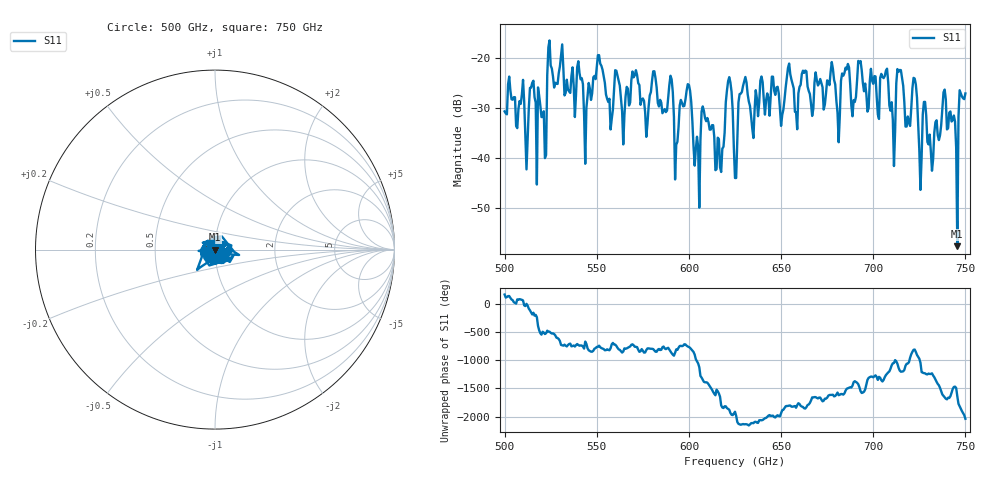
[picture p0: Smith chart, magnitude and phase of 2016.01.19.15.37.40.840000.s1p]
!Created with skrf (http://scikit-rf.org).
# GHz S RI R 50.0
!freq ReS11 ImS11
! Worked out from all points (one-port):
!   401 points, 500 GHz to 750 GHz, reference 50 ohm
!   lowest |S11| = -57.7 dB at 745.6 GHz (marker M1), VSWR 1.00, Z = 49.9 + j0.0494 ohm
!   |S11| at or under -10 dB: start of sweep to end of sweep
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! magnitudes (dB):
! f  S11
! 500 GHz  -30.7
! 511.9 GHz  -42.3
! 515 GHz  -24.9
! 521.2 GHz  -30.6
! 524.4 GHz  -16.4
! 531.2 GHz  -17.2
! 543.8 GHz  -41.2
! 562.5 GHz  -25.5
! 590 GHz  -23.5
! 593.8 GHz  -36.8
! 599.4 GHz  -25.2
! 604.4 GHz  -35.7
! 608.1 GHz  -30.5
! 617.5 GHz  -42.8
! 621.9 GHz  -23.8
! 625 GHz  -44.0
! 630 GHz  -24.6
! 656.2 GHz  -25.1
! 687.5 GHz  -25.3
! 706.2 GHz  -23.6
! 710.6 GHz  -32.3
! 714.4 GHz  -22.3
! 718.8 GHz  -31.7
! 722.5 GHz  -24.1
! 725.6 GHz  -46.4
! 738.1 GHz  -26.8
! 745.6 GHz  -57.7
! 750 GHz  -27.1
